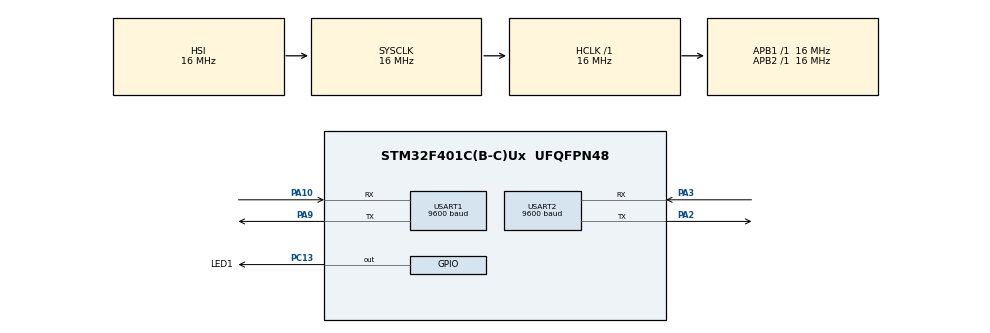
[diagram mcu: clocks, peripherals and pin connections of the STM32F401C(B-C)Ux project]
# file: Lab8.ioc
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Dma.Request0=USART1_RX
Dma.Request1=USART1_TX
Dma.Request2=USART2_RX
Dma.Request3=USART2_TX
Dma.USART1_RX.0.Direction=DMA_PERIPH_TO_MEMORY
Dma.USART1_RX.0.FIFOMode=DMA_FIFOMODE_DISABLE
Dma.USART1_RX.0.Instance=DMA2_Stream2
Dma.USART1_RX.0.MemDataAlignment=DMA_MDATAALIGN_BYTE
Dma.USART1_RX.0.MemInc=DMA_MINC_ENABLE
Dma.USART1_RX.0.Mode=DMA_NORMAL
Dma.USART1_RX.0.PeriphDataAlignment=DMA_PDATAALIGN_BYTE
Dma.USART1_RX.0.PeriphInc=DMA_PINC_DISABLE
Dma.USART1_RX.0.Priority=DMA_PRIORITY_LOW
Dma.USART1_TX.1.Direction=DMA_MEMORY_TO_PERIPH
Dma.USART1_TX.1.FIFOMode=DMA_FIFOMODE_DISABLE
Dma.USART1_TX.1.Instance=DMA2_Stream7
Dma.USART1_TX.1.MemDataAlignment=DMA_MDATAALIGN_BYTE
Dma.USART1_TX.1.MemInc=DMA_MINC_ENABLE
Dma.USART1_TX.1.Mode=DMA_NORMAL
Dma.USART1_TX.1.PeriphDataAlignment=DMA_PDATAALIGN_BYTE
Dma.USART1_TX.1.PeriphInc=DMA_PINC_DISABLE
Dma.USART1_TX.1.Priority=DMA_PRIORITY_LOW
Dma.USART2_RX.2.Direction=DMA_PERIPH_TO_MEMORY
Dma.USART2_RX.2.FIFOMode=DMA_FIFOMODE_DISABLE
Dma.USART2_RX.2.Instance=DMA1_Stream5
Dma.USART2_RX.2.MemDataAlignment=DMA_MDATAALIGN_BYTE
Dma.USART2_RX.2.MemInc=DMA_MINC_ENABLE
Dma.USART2_RX.2.Mode=DMA_NORMAL
Dma.USART2_RX.2.PeriphDataAlignment=DMA_PDATAALIGN_BYTE
Dma.USART2_RX.2.PeriphInc=DMA_PINC_DISABLE
Dma.USART2_RX.2.Priority=DMA_PRIORITY_LOW
Dma.USART2_TX.3.Direction=DMA_MEMORY_TO_PERIPH
Dma.USART2_TX.3.FIFOMode=DMA_FIFOMODE_DISABLE
Dma.USART2_TX.3.Instance=DMA1_Stream6
Dma.USART2_TX.3.MemDataAlignment=DMA_MDATAALIGN_BYTE
Dma.USART2_TX.3.MemInc=DMA_MINC_ENABLE
Dma.USART2_TX.3.Mode=DMA_NORMAL
Dma.USART2_TX.3.PeriphDataAlignment=DMA_PDATAALIGN_BYTE
Dma.USART2_TX.3.PeriphInc=DMA_PINC_DISABLE
Dma.USART2_TX.3.Priority=DMA_PRIORITY_LOW
Mcu.Family=STM32F4
Mcu.Name=STM32F401C(B-C)Ux
Mcu.Package=UFQFPN48
NVIC.DMA1_Stream5_IRQn=true\:0\:0\:false\:true\:true\:6\:false\:true\:true
NVIC.DMA1_Stream6_IRQn=true\:0\:0\:false\:true\:true\:7\:false\:true\:true
NVIC.DMA2_Stream2_IRQn=true\:0\:0\:false\:true\:true\:2\:false\:true\:true
NVIC.DMA2_Stream7_IRQn=true\:0\:0\:false\:true\:true\:1\:false\:true\:true
NVIC.PriorityGroup=NVIC_PRIORITYGROUP_4
NVIC.TIM2_IRQn=true\:0\:0\:false\:true\:true\:4\:true\:true\:true
NVIC.USART1_IRQn=true\:0\:0\:false\:true\:true\:3\:true\:true\:true
NVIC.USART2_IRQn=true\:0\:0\:false\:true\:true\:5\:true\:true\:true
PA10.Mode=Asynchronous
PA10.Signal=USART1_RX
PA2.Mode=Asynchronous
PA2.Signal=USART2_TX
PA3.Mode=Asynchronous
PA3.Signal=USART2_RX
PA9.Mode=Asynchronous
PA9.Signal=USART1_TX
PC13-ANTI_TAMP.GPIO_Label=LED1
PC13-ANTI_TAMP.Signal=GPIO_Output
ProjectManager.HeapSize=0x200
ProjectManager.StackSize=0x400
ProjectManager.TargetToolchain=STM32CubeIDE
RCC.AHBFreq_Value=16000000
RCC.APB1Freq_Value=16000000
RCC.APB2Freq_Value=16000000
RCC.CortexFreq_Value=16000000
RCC.HSE_VALUE=25000000
RCC.HSI_VALUE=16000000
RCC.LSE_VALUE=32768
RCC.SYSCLKFreq_VALUE=16000000
RCC.VCOOutputFreq_Value=192000000
TIM2.Period=10
TIM2.Prescaler=16000
USART1.BaudRate=9600
USART1.VirtualMode=VM_ASYNC
USART2.BaudRate=9600
USART2.VirtualMode=VM_ASYNC
VP_TIM2_VS_ClockSourceINT.Mode=Internal
board=custom

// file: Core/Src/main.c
/* USER CODE BEGIN Header */
/**
  ******************************************************************************
  * @file           : main.c
  * @brief          : Main program body
  ******************************************************************************
  * @attention
  *
  * Copyright (c) 2022 STMicroelectronics.
  * All rights reserved.
  *
  * This software is licensed under terms that can be found in the LICENSE file
  * in the root directory of this software component.
  * If no LICENSE file comes with this software, it is provided AS-IS.
  *
  ******************************************************************************
  */
/* USER CODE END Header */
#include "main.h"

/* USER CODE BEGIN Includes */
#include <stdbool.h>
/* USER CODE END Includes */

TIM_HandleTypeDef htim2;

UART_HandleTypeDef huart1;
UART_HandleTypeDef huart2;
DMA_HandleTypeDef hdma_usart1_rx;
DMA_HandleTypeDef hdma_usart1_tx;
DMA_HandleTypeDef hdma_usart2_rx;
DMA_HandleTypeDef hdma_usart2_tx;

/* USER CODE BEGIN PV */
uint8_t dma_buffer[200];
volatile bool toggle = 0;
uint8_t UART1_rxBuffer[1] = {0};
uint8_t count = '0';
/* USER CODE END PV */

void SystemClock_Config(void);
static void MX_GPIO_Init(void);
static void MX_DMA_Init(void);
static void MX_USART1_UART_Init(void);
static void MX_TIM2_Init(void);
static void MX_USART2_UART_Init(void);
static void MX_NVIC_Init(void);

/* USER CODE BEGIN 0 */

uint8_t flag = 0;
/* USER CODE END 0 */

int main(void)
{

  /* MCU Configuration--------------------------------------------------------*/

  /* Reset of all peripherals, Initializes the Flash interface and the Systick. */
  HAL_Init();

  /* Configure the system clock */
  SystemClock_Config();

  /* Initialize all configured peripherals */
  MX_GPIO_Init();
  MX_DMA_Init();
  MX_USART1_UART_Init();
  MX_TIM2_Init();
  MX_USART2_UART_Init();

  /* Initialize interrupts */
  MX_NVIC_Init();
  /* USER CODE BEGIN 2 */
  HAL_TIM_Base_Start_IT(&htim2);

  /*uint16_t i;
    for(i = 0; i < 198; i++)
    {
      dma_buffer[i] = 'x';
    }
    dma_buffer[198] = '\r';
    dma_buffer[199] = '\n';*/

  /* USER CODE END 2 */

  /* Infinite loop */
  /* USER CODE BEGIN WHILE */
    //HAL_UART_Transmit(&huart1, (uint8_t *) "Welcome\n\r\tPress 0 or 1\n\r", sizeof("Welcome\n\r\tPress 0 or 1\n\r"), 100);
  	HAL_UART_Transmit_IT(&huart1, (uint8_t *) "Welcome\n\r", sizeof("Welcome\n\r"));
    //HAL_UART_Receive_DMA(&huart1, UART1_rxBuffer, 1);
    HAL_UART_Receive_IT(&huart2, UART1_rxBuffer, 1);

  while (1)
  {
	  /*HAL_UART_Transmit_IT(&huart1, (uint8_t *) "Welcome\n\r", sizeof("Welcome\n\r"));*/
	  //HAL_Delay(2000);
	 /* uint8_t state = HAL_UART_GetState(&huart1);
	    if( (state != HAL_UART_STATE_BUSY_RX) && (state != HAL_UART_STATE_BUSY_TX_RX) ) {

	      while( HAL_UART_Transmit_IT(&huart1, str, 1) == HAL_BUSY );
	      HAL_UART_Receive_IT (&huart1, str, 1);*/
    /* USER CODE END WHILE */

  }
}

void SystemClock_Config(void)
{
  RCC_OscInitTypeDef RCC_OscInitStruct = {0};
  RCC_ClkInitTypeDef RCC_ClkInitStruct = {0};

  /** Configure the main internal regulator output voltage
  */
  __HAL_RCC_PWR_CLK_ENABLE();
  __HAL_PWR_VOLTAGESCALING_CONFIG(PWR_REGULATOR_VOLTAGE_SCALE2);

  /** Initializes the RCC Oscillators according to the specified parameters
  * in the RCC_OscInitTypeDef structure.
  */
  RCC_OscInitStruct.OscillatorType = RCC_OSCILLATORTYPE_HSI;
  RCC_OscInitStruct.HSIState = RCC_HSI_ON;
  RCC_OscInitStruct.HSICalibrationValue = RCC_HSICALIBRATION_DEFAULT;
  RCC_OscInitStruct.PLL.PLLState = RCC_PLL_NONE;
  if (HAL_RCC_OscConfig(&RCC_OscInitStruct) != HAL_OK)
  {
    Error_Handler();
  }

  /** Initializes the CPU, AHB and APB buses clocks
  */
  RCC_ClkInitStruct.ClockType = RCC_CLOCKTYPE_HCLK|RCC_CLOCKTYPE_SYSCLK
                              |RCC_CLOCKTYPE_PCLK1|RCC_CLOCKTYPE_PCLK2;
  RCC_ClkInitStruct.SYSCLKSource = RCC_SYSCLKSOURCE_HSI;
  RCC_ClkInitStruct.AHBCLKDivider = RCC_SYSCLK_DIV1;
  RCC_ClkInitStruct.APB1CLKDivider = RCC_HCLK_DIV1;
  RCC_ClkInitStruct.APB2CLKDivider = RCC_HCLK_DIV1;

  if (HAL_RCC_ClockConfig(&RCC_ClkInitStruct, FLASH_LATENCY_0) != HAL_OK)
  {
    Error_Handler();
  }
}

/**
  * @brief NVIC Configuration.
  * @retval None
  */
static void MX_NVIC_Init(void)
{
  /* DMA2_Stream7_IRQn interrupt configuration */
  HAL_NVIC_SetPriority(DMA2_Stream7_IRQn, 0, 0);
  HAL_NVIC_EnableIRQ(DMA2_Stream7_IRQn);
  /* DMA2_Stream2_IRQn interrupt configuration */
  HAL_NVIC_SetPriority(DMA2_Stream2_IRQn, 0, 0);
  HAL_NVIC_EnableIRQ(DMA2_Stream2_IRQn);
  /* USART1_IRQn interrupt configuration */
  HAL_NVIC_SetPriority(USART1_IRQn, 0, 0);
  HAL_NVIC_EnableIRQ(USART1_IRQn);
  /* TIM2_IRQn interrupt configuration */
  HAL_NVIC_SetPriority(TIM2_IRQn, 0, 0);
  HAL_NVIC_EnableIRQ(TIM2_IRQn);
  /* USART2_IRQn interrupt configuration */
  HAL_NVIC_SetPriority(USART2_IRQn, 0, 0);
  HAL_NVIC_EnableIRQ(USART2_IRQn);
  /* DMA1_Stream5_IRQn interrupt configuration */
  HAL_NVIC_SetPriority(DMA1_Stream5_IRQn, 0, 0);
  HAL_NVIC_EnableIRQ(DMA1_Stream5_IRQn);
  /* DMA1_Stream6_IRQn interrupt configuration */
  HAL_NVIC_SetPriority(DMA1_Stream6_IRQn, 0, 0);
  HAL_NVIC_EnableIRQ(DMA1_Stream6_IRQn);
}

static void MX_TIM2_Init(void)
{

  TIM_ClockConfigTypeDef sClockSourceConfig = {0};
  TIM_MasterConfigTypeDef sMasterConfig = {0};

  htim2.Instance = TIM2;
  htim2.Init.Prescaler = 16000;
  htim2.Init.CounterMode = TIM_COUNTERMODE_UP;
  htim2.Init.Period = 10;
  htim2.Init.ClockDivision = TIM_CLOCKDIVISION_DIV1;
  htim2.Init.AutoReloadPreload = TIM_AUTORELOAD_PRELOAD_DISABLE;
  if (HAL_TIM_Base_Init(&htim2) != HAL_OK)
  {
    Error_Handler();
  }
  sClockSourceConfig.ClockSource = TIM_CLOCKSOURCE_INTERNAL;
  if (HAL_TIM_ConfigClockSource(&htim2, &sClockSourceConfig) != HAL_OK)
  {
    Error_Handler();
  }
  sMasterConfig.MasterOutputTrigger = TIM_TRGO_RESET;
  sMasterConfig.MasterSlaveMode = TIM_MASTERSLAVEMODE_DISABLE;
  if (HAL_TIMEx_MasterConfigSynchronization(&htim2, &sMasterConfig) != HAL_OK)
  {
    Error_Handler();
  }

}

static void MX_USART1_UART_Init(void)
{

  huart1.Instance = USART1;
  huart1.Init.BaudRate = 9600;
  huart1.Init.WordLength = UART_WORDLENGTH_8B;
  huart1.Init.StopBits = UART_STOPBITS_1;
  huart1.Init.Parity = UART_PARITY_NONE;
  huart1.Init.Mode = UART_MODE_TX_RX;
  huart1.Init.HwFlowCtl = UART_HWCONTROL_NONE;
  huart1.Init.OverSampling = UART_OVERSAMPLING_16;
  if (HAL_UART_Init(&huart1) != HAL_OK)
  {
    Error_Handler();
  }

}

static void MX_USART2_UART_Init(void)
{

  huart2.Instance = USART2;
  huart2.Init.BaudRate = 9600;
  huart2.Init.WordLength = UART_WORDLENGTH_8B;
  huart2.Init.StopBits = UART_STOPBITS_1;
  huart2.Init.Parity = UART_PARITY_NONE;
  huart2.Init.Mode = UART_MODE_TX_RX;
  huart2.Init.HwFlowCtl = UART_HWCONTROL_NONE;
  huart2.Init.OverSampling = UART_OVERSAMPLING_16;
  if (HAL_UART_Init(&huart2) != HAL_OK)
  {
    Error_Handler();
  }

}

static void MX_DMA_Init(void)
{

  /* DMA controller clock enable */
  __HAL_RCC_DMA2_CLK_ENABLE();
  __HAL_RCC_DMA1_CLK_ENABLE();

}

static void MX_GPIO_Init(void)
{
  GPIO_InitTypeDef GPIO_InitStruct = {0};

  /* GPIO Ports Clock Enable */
  __HAL_RCC_GPIOC_CLK_ENABLE();
  __HAL_RCC_GPIOA_CLK_ENABLE();

  /*Configure GPIO pin Output Level */
  HAL_GPIO_WritePin(LED1_GPIO_Port, LED1_Pin, GPIO_PIN_RESET);

  /*Configure GPIO pin : LED1_Pin */
  GPIO_InitStruct.Pin = LED1_Pin;
  GPIO_InitStruct.Mode = GPIO_MODE_OUTPUT_PP;
  GPIO_InitStruct.Pull = GPIO_NOPULL;
  GPIO_InitStruct.Speed = GPIO_SPEED_FREQ_LOW;
  HAL_GPIO_Init(LED1_GPIO_Port, &GPIO_InitStruct);

}

/* USER CODE BEGIN 4 */
void HAL_UART_RxCpltCallback(UART_HandleTypeDef *huart)
{

	if (huart -> Instance == USART2){
		HAL_UART_Transmit_IT(&huart2, UART1_rxBuffer, 1);
		HAL_UART_Receive_IT(&huart2, UART1_rxBuffer, 1);

	}

	if (UART1_rxBuffer[0] == '0')
		{
			HAL_UART_AbortTransmit(&huart1);
		}

}

void HAL_UART_TxCpltCallback(UART_HandleTypeDef *huart)
{
	if(huart == &huart1)
	{

		//count++
		/*if (count > '9')
			count = '0';*/
	}

}

void HAL_TIM_PeriodElapsedCallback(TIM_HandleTypeDef *htim)
{
	if(htim->Instance == TIM2)
	{
		HAL_UART_Transmit_IT(&huart1, (uint8_t *) UART1_rxBuffer, 1);
		UART1_rxBuffer[0] = '1';
	}
}

/* USER CODE END 4 */

void Error_Handler(void)
{
  __disable_irq();
  while (1)
  {
  }
}
